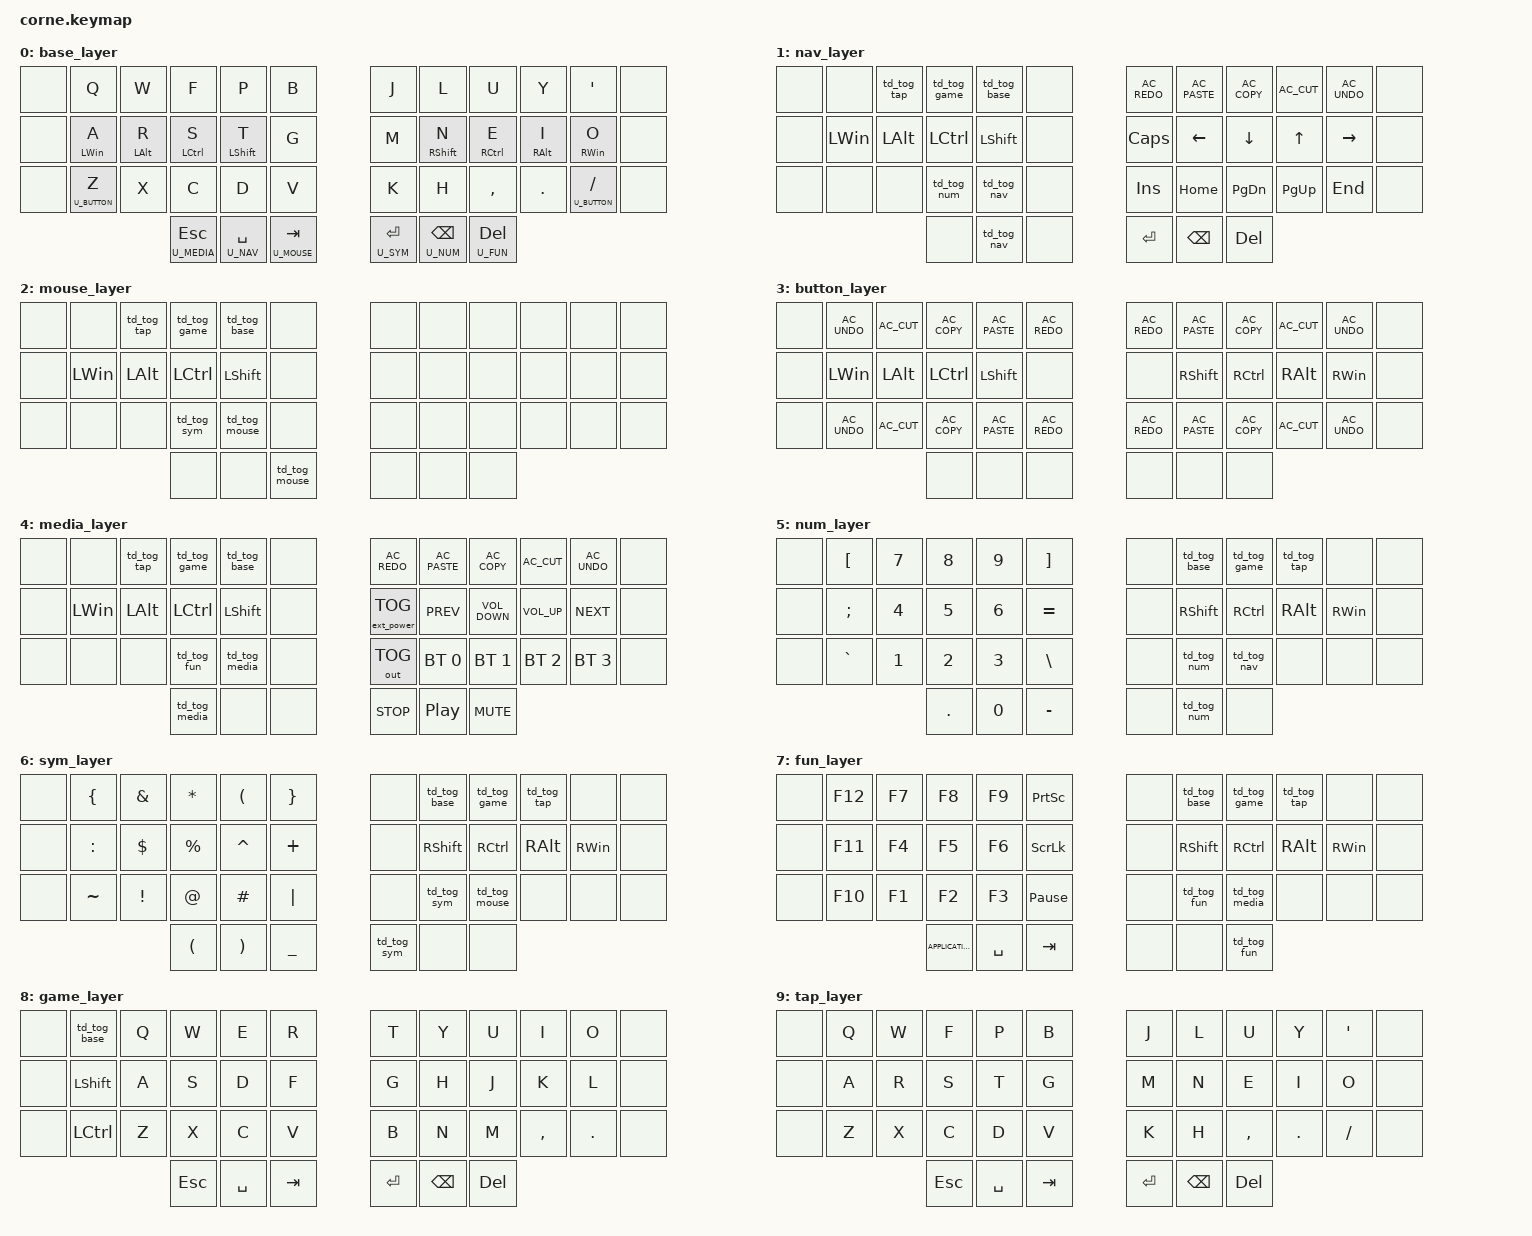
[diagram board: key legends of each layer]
/*
 * Copyright (c) 2023 [Your Name]
 *
 * SPDX-License-Identifier: MIT
 */

#include <dt-bindings/zmk/keys.h>
#include <behaviors.dtsi>
#include <dt-bindings/zmk/bt.h>
#include <dt-bindings/zmk/outputs.h>
#include <dt-bindings/zmk/ext_power.h>

#define U_BASE    0
#define U_NAV     1
#define U_MOUSE   2
#define U_BUTTON  3
#define U_MEDIA   4
#define U_NUM     5
#define U_SYM     6
#define U_FUN     7
#define U_GAME    8
#define U_TAP     9

/ {
    behaviors {
        u_hm: homerow_mods {
            compatible      = "zmk,behavior-hold-tap";
            label           = "HOMEROW_MODS";
            #binding-cells  = <2>;
            tapping-term-ms = <200>;
            quick-tap-ms    = <0>;
            flavor          = "tap-preferred";
            bindings        = <&kp>, <&kp>;
        };

		u_lt: layer_tap {
            compatible      = "zmk,behavior-hold-tap";
            label           = "LAYER_TAP";
            #binding-cells  = <2>;
            tapping-term-ms = <200>;
            quick-tap-ms    = <0>;
            flavor          = "tap-preferred";
            bindings        = <&mo>, <&kp>;
		};
		
		td_tog_base: tap_dance_toggle_base {
            compatible      = "zmk,behavior-tap-dance";
            label           = "TAP_DANCE_TOGGLE_BASE";
            #binding-cells  = <0>;
            tapping-term-ms = <200>;
            bindings        = <&none>, <&to U_BASE>;
        };
		
		td_tog_nav: tap_dance_toggle_nav {
            compatible      = "zmk,behavior-tap-dance";
            label           = "TAP_DANCE_TOGGLE_NAV";
            #binding-cells  = <0>;
            tapping-term-ms = <200>;
            bindings        = <&none>, <&tog U_NAV>;
        };
		
		td_tog_mouse: tap_dance_toggle_mouse {
            compatible      = "zmk,behavior-tap-dance";
            label           = "TAP_DANCE_TOGGLE_MOUSE";
            #binding-cells  = <0>;
            tapping-term-ms = <200>;
            bindings        = <&none>, <&tog U_MOUSE>;
        };
		
		td_tog_button: tap_dance_toggle_button {
            compatible      = "zmk,behavior-tap-dance";
            label           = "TAP_DANCE_TOGGLE_BUTTON";
            #binding-cells  = <0>;
            tapping-term-ms = <200>;
            bindings        = <&none>, <&tog U_BUTTON>;
        };
		
		td_tog_media: tap_dance_toggle_media {
            compatible      = "zmk,behavior-tap-dance";
            label           = "TAP_DANCE_TOGGLE_MEDIA";
            #binding-cells  = <0>;
            tapping-term-ms = <200>;
            bindings        = <&none>, <&tog U_MEDIA>;
        };
		
		td_tog_num: tap_dance_toggle_num {
            compatible      = "zmk,behavior-tap-dance";
            label           = "TAP_DANCE_TOGGLE_NUM";
            #binding-cells  = <0>;
            tapping-term-ms = <200>;
            bindings        = <&none>, <&to U_NUM>;
        };
		
		td_tog_sym: tap_dance_toggle_sym {
            compatible      = "zmk,behavior-tap-dance";
            label           = "TAP_DANCE_TOGGLE_SYM";
            #binding-cells  = <0>;
            tapping-term-ms = <200>;
            bindings        = <&none>, <&tog U_SYM>;
        };
		
		td_tog_fun: tap_dance_toggle_fun {
            compatible      = "zmk,behavior-tap-dance";
            label           = "TAP_DANCE_TOGGLE_FUN";
            #binding-cells  = <0>;
            tapping-term-ms = <200>;
            bindings        = <&none>, <&tog U_FUN>;
        };
		
		td_tog_game: tap_dance_toggle_game {
            compatible      = "zmk,behavior-tap-dance";
            label           = "TAP_DANCE_TOGGLE_GAME";
            #binding-cells  = <0>;
            tapping-term-ms = <200>;
            bindings        = <&none>, <&tog U_GAME>;
        };
		
		td_tog_tap: tap_dance_toggle_tap {
            compatible      = "zmk,behavior-tap-dance";
            label           = "TAP_DANCE_TOGGLE_TAP";
            #binding-cells  = <0>;
            tapping-term-ms = <200>;
            bindings        = <&none>, <&tog U_TAP>;
        };
		
		u_lbut: layer_button {
            compatible      = "zmk,behavior-hold-tap";
            label           = "LAYER_BUTTON";
            #binding-cells  = <2>;
            tapping-term-ms = <250>;
            quick-tap-ms    = <0>;
            flavor          = "tap-preferred";
            bindings        = <&mo>, <&kp>;
		};
    };
	
	combos {
        compatible = "zmk,combos";
        combo_esc {
            timeout-ms = <50>;
            key-positions = <1 2>;
			layers = <8 9>;
            bindings = <&to U_BASE>;
        };
    };

    keymap {
        compatible = "zmk,keymap";
        label      = "Default keymap";

        base_layer {
            /*
                ------------------------------------------------------------------------------------------------------
                |   |    Q    |    W    |     F    |     P     | B | J |    L      |     U    |    Y    |       '         |   |
				
                |   | LWIN(A) | LALT(R) | LCTRL(S) | LSHIFT(T) | G | M | RSHIFT(N) | RCTRL(E) | RALT(I) |     RWIN(O)     |   |
				
                |   | U_BUTTON(Z) |  X  |     C    |     D     | V | K |    H      |     ,    |    .    | U_BUTTON(SLASH) |   |
				
                            | MEDIA(ESC) | NAV(SPACE) | MOUSE(TAB) | SYM(ENTER) | NUM(BACKSPACE) | FUN(DELETE) |
                ------------------------------------------------------------------------------------------------------
            */
            bindings = <
                &none          &kp Q               &kp W             &kp F             &kp P          &kp B           &kp J             &kp L             &kp U          &kp Y            &kp SQT                  &none
                &none          &u_hm LWIN A        &u_hm LALT R      &u_hm LCTRL S     &u_hm LSHIFT T &kp G           &kp M             &u_hm RSHIFT N    &u_hm RCTRL E  &u_hm RALT I     &u_hm RWIN O             &none
                &none          &u_lbut U_BUTTON Z  &kp X             &kp C             &kp D          &kp V           &kp K             &kp H             &kp COMMA      &kp PERIOD       &u_lbut U_BUTTON SLASH   &none
                &u_lt U_MEDIA ESC &u_lt U_NAV SPACE &u_lt U_MOUSE TAB &u_lt U_SYM ENTER &u_lt U_NUM BACKSPACE &u_lt U_FUN DELETE
            >;
        };
        
        
        
        nav_layer {
            bindings = <
                &none          &none             &td_tog_tap     &td_tog_game      &td_tog_base     &none           &kp C_AC_REDO       &kp C_AC_PASTE     &kp C_AC_COPY      &kp C_AC_CUT     &kp C_AC_UNDO       &none
                &none          &kp LWIN      	 &kp LALT        &kp LCTRL         &kp LSHIFT       &none           &kp CAPSLOCK        &kp LEFT_ARROW     &kp DOWN_ARROW     &kp UP_ARROW     &kp RIGHT_ARROW     &none
                &none          &none             &none           &td_tog_num       &td_tog_nav      &none           &kp INSERT          &kp HOME           &kp PAGE_DOWN      &kp PAGE_UP      &kp END             &none
                &none &td_tog_nav &none &kp ENTER &kp BACKSPACE &kp DELETE
            >;
        };
        
        mouse_layer {
            bindings = <
                &none        &none         &td_tog_tap  &td_tog_game     &td_tog_base     &none            &none     &none      &none      &none       &none      &none
                &none        &kp LWIN      &kp LALT     &kp LCTRL        &kp LSHIFT       &none            &none     &none      &none      &none       &none      &none
                &none        &none         &none        &td_tog_sym      &td_tog_mouse    &none            &none     &none      &none      &none       &none      &none
                &none &none &td_tog_mouse &none &none &none
            >;
        };
        
        button_layer {
            bindings = <
                &none          &kp C_AC_UNDO       &kp C_AC_CUT       &kp C_AC_COPY      &kp C_AC_PASTE    &kp C_AC_REDO      &kp C_AC_REDO       &kp C_AC_PASTE    &kp C_AC_COPY     &kp C_AC_CUT        &kp C_AC_UNDO            &none
                &none          &kp LWIN            &kp LALT           &kp LCTRL          &kp LSHIFT        &none              &none               &kp RSHIFT        &kp RCTRL         &kp RALT            &kp RWIN                 &none
                &none          &kp C_AC_UNDO       &kp C_AC_CUT       &kp C_AC_COPY      &kp C_AC_PASTE    &kp C_AC_REDO      &kp C_AC_REDO       &kp C_AC_PASTE    &kp C_AC_COPY     &kp C_AC_CUT        &kp C_AC_UNDO            &none
                &none &none &none &none &none &none
            >;
        };
        
        media_layer {
            bindings = <
                &none          &none             &td_tog_tap     &td_tog_game      &td_tog_base       &none           &kp C_AC_REDO         &kp C_AC_PASTE     &kp C_AC_COPY         &kp C_AC_CUT          &kp C_AC_UNDO       &none
                &none          &kp LWIN      	 &kp LALT        &kp LCTRL         &kp LSHIFT         &none           &ext_power EP_TOG     &kp C_PREV         &kp C_VOLUME_DOWN     &kp C_VOLUME_UP       &kp C_NEXT          &none
                &none          &none             &none           &td_tog_fun       &td_tog_media      &none           &out OUT_TOG          &bt BT_SEL 0       &bt BT_SEL 1          &bt BT_SEL 2          &bt BT_SEL 3        &none
                &td_tog_media &none &none &kp C_STOP &kp C_PLAY_PAUSE &kp C_MUTE
            >;
        };
        
        num_layer {
            bindings = <
                &none          &kp LEFT_BRACKET   &kp NUMBER_7      &kp NUMBER_8       &kp NUMBER_9      &kp RIGHT_BRACKET     &none      &td_tog_base     &td_tog_game   &td_tog_tap  &none        &none
                &none          &kp SEMICOLON      &kp NUMBER_4      &kp NUMBER_5       &kp NUMBER_6      &kp EQUAL             &none      &kp RSHIFT       &kp RCTRL      &kp RALT     &kp RWIN     &none
                &none          &kp GRAVE          &kp NUMBER_1      &kp NUMBER_2       &kp NUMBER_3      &kp BACKSLASH         &none      &td_tog_num      &td_tog_nav    &none        &none        &none
                &kp PERIOD &kp NUMBER_0 &kp MINUS &none &td_tog_num &none
            >;
        };
        
        sym_layer {
            bindings = <
                &none          &kp LEFT_BRACE    &kp AMPERSAND      &kp ASTERISK      &kp LEFT_PARENTHESIS     &kp RIGHT_BRACE     &none      &td_tog_base     &td_tog_game     &td_tog_tap  &none        &none
                &none          &kp COLON         &kp DOLLAR         &kp PERCENT       &kp CARET                &kp PLUS            &none      &kp RSHIFT       &kp RCTRL        &kp RALT     &kp RWIN     &none
                &none          &kp TILDE         &kp EXCLAMATION    &kp AT_SIGN       &kp HASH                 &kp PIPE            &none      &td_tog_sym      &td_tog_mouse    &none        &none        &none
                &kp LEFT_PARENTHESIS &kp RIGHT_PARENTHESIS &kp UNDERSCORE &td_tog_sym &none &none
            >;
        };
        
        fun_layer {
            bindings = <
                &none          &kp F12     &kp F7      &kp F8       &kp F9      &kp PRINTSCREEN      &none      &td_tog_base     &td_tog_game     &td_tog_tap  &none        &none
                &none          &kp F11     &kp F4      &kp F5       &kp F6      &kp SCROLLLOCK       &none      &kp RSHIFT       &kp RCTRL        &kp RALT     &kp RWIN     &none
                &none          &kp F10     &kp F1      &kp F2       &kp F3      &kp PAUSE_BREAK      &none      &td_tog_fun      &td_tog_media    &none        &none        &none
                &kp K_APPLICATION &kp SPACE &kp TAB &none &none &td_tog_fun
            >;
        };
		
		game_layer {
            bindings = <
                &none          &td_tog_base       &kp Q             &kp W             &kp E          &kp R           &kp T             &kp Y      &kp U      &kp I        &kp O        &none
                &none          &kp LSHIFT         &kp A             &kp S             &kp D          &kp F           &kp G             &kp H      &kp J      &kp K        &kp L        &none
                &none          &kp LCTRL          &kp Z             &kp X             &kp C          &kp V           &kp B             &kp N      &kp M      &kp COMMA    &kp PERIOD   &none
                &kp ESC &kp SPACE &kp TAB &kp ENTER &kp BACKSPACE &kp DELETE
            >;
        };
		
		tap_layer {
            /*
                ------------------------------------------------------------------------------------------------------
                |   |    Q    |    W    |     F    |     P     | B | J |    L      |     U    |    Y    |      '      |   |
				
                |   |    A    |    R    |     S    |     T     | G | M |    N      |     E    |    I    |      O      |   |
				
                |   |    Z    |    X    |     C    |     D     | V | K |    H      |     ,    |    .    |    SLASH    |   |
				
                                               | ESC | SPACE | TAB | ENTER | BACKSPACE | DELETE |
                ------------------------------------------------------------------------------------------------------
            */
            bindings = <
                &none          &kp Q               &kp W             &kp F             &kp P          &kp B           &kp J             &kp L             &kp U          &kp Y            &kp SQT                  &none
                &none          &kp A               &kp R             &kp S             &kp T          &kp G           &kp M             &kp N             &kp E          &kp I            &kp O                    &none
                &none          &kp Z               &kp X             &kp C             &kp D          &kp V           &kp K             &kp H             &kp COMMA      &kp PERIOD       &kp SLASH                &none
                &kp ESC  &kp SPACE  &kp TAB  &kp ENTER  &kp BACKSPACE  &kp DELETE
            >;
        };
    };
};
